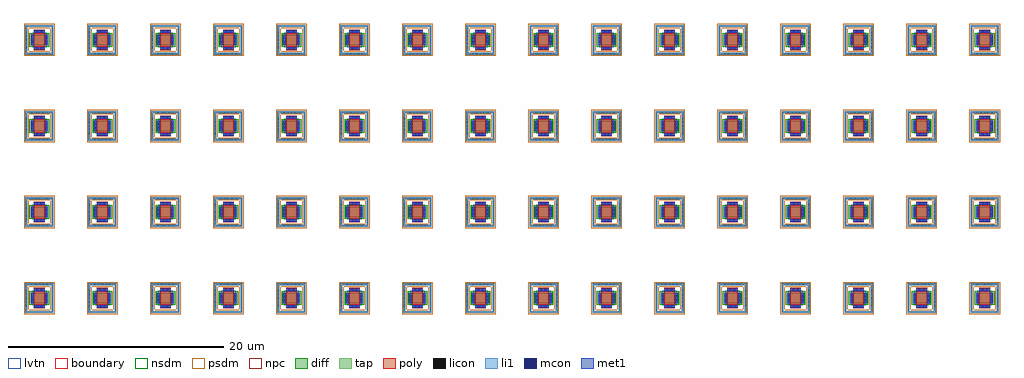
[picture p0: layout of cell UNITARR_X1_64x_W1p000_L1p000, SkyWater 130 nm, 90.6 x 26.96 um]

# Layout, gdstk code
import gdstk
lib = gdstk.Library(unit=1e-6, precision=1e-09)
def R(c, l, rs):  # rectangles x0, y0, x1, y1
    for r in rs: c.add(gdstk.rectangle(r[:2], r[2:], *l))
diff = (65, 20)
tap = (65, 44)
poly = (66, 20)
licon = (66, 44)
li1 = (67, 20)
mcon = (67, 44)
met1 = (68, 20)
nsdm = (93, 44)
psdm = (94, 20)
npc = (95, 20)
lvtn = (125, 44)
boundary = (235, 4)

sky130_fd_pr__nfet_01v8_ = lib.new_cell('sky130_fd_pr__nfet_01v8_lvt_SRSYDN')
R(sky130_fd_pr__nfet_01v8_, diff, [(-0.79,-0.5,0.79,0.5), (-0.79,-0.5,0.79,0.5), (-0.79,-0.5,0.79,0.5), (-0.79,-0.5,0.79,0.5)])
R(sky130_fd_pr__nfet_01v8_, tap, [(-1.3,-1.37,1.3,-1.2), (-1.3,-1.37,1.3,-1.2), (-1.3,-1.37,1.3,-1.2), (-1.3,-1.37,1.3,-1.2), (-1.3,-1.2,-1.13,1.2), (-1.3,-1.2,-1.13,1.2), (-1.3,-1.2,-1.13,1.2), (-1.3,-1.2,-1.13,1.2), (1.13,-1.2,1.3,1.2), (1.13,-1.2,1.3,1.2), (1.13,-1.2,1.3,1.2), (1.13,-1.2,1.3,1.2), (-1.3,1.2,1.3,1.37), (-1.3,1.2,1.3,1.37), (-1.3,1.2,1.3,1.37), (-1.3,1.2,1.3,1.37)])
R(sky130_fd_pr__nfet_01v8_, poly, [(-0.5,-0.94,0.5,0.94), (-0.5,-0.94,0.5,0.94), (-0.5,-0.94,0.5,0.94), (-0.5,-0.94,0.5,0.94)])
R(sky130_fd_pr__nfet_01v8_, licon, [(-0.765,-1.37,-0.595,-1.2), (-0.765,-1.37,-0.595,-1.2), (-0.765,-1.37,-0.595,-1.2), (-0.765,-1.37,-0.595,-1.2), (-0.425,-1.37,-0.255,-1.2), (-0.425,-1.37,-0.255,-1.2), (-0.425,-1.37,-0.255,-1.2), (-0.425,-1.37,-0.255,-1.2), (-0.085,-1.37,0.085,-1.2), (-0.085,-1.37,0.085,-1.2), (-0.085,-1.37,0.085,-1.2), (-0.085,-1.37,0.085,-1.2), (0.255,-1.37,0.425,-1.2), (0.255,-1.37,0.425,-1.2), (0.255,-1.37,0.425,-1.2), (0.255,-1.37,0.425,-1.2), (0.595,-1.37,0.765,-1.2), (0.595,-1.37,0.765,-1.2), (0.595,-1.37,0.765,-1.2), (0.595,-1.37,0.765,-1.2), (-0.255,-0.86,-0.085,-0.69), (-0.255,-0.86,-0.085,-0.69), (-0.255,-0.86,-0.085,-0.69), (-0.255,-0.86,-0.085,-0.69), (0.085,-0.86,0.255,-0.69), (0.085,-0.86,0.255,-0.69), (0.085,-0.86,0.255,-0.69), (0.085,-0.86,0.255,-0.69), (-1.3,-0.765,-1.13,-0.595), (-1.3,-0.765,-1.13,-0.595), (-1.3,-0.765,-1.13,-0.595), (-1.3,-0.765,-1.13,-0.595), (1.13,-0.765,1.3,-0.595), (1.13,-0.765,1.3,-0.595), (1.13,-0.765,1.3,-0.595), (1.13,-0.765,1.3,-0.595), (-1.3,-0.425,-1.13,-0.255), (-1.3,-0.425,-1.13,-0.255), (-1.3,-0.425,-1.13,-0.255), (-1.3,-0.425,-1.13,-0.255), (-0.73,-0.425,-0.56,-0.255), (-0.73,-0.425,-0.56,-0.255), (-0.73,-0.425,-0.56,-0.255), (-0.73,-0.425,-0.56,-0.255), (0.56,-0.425,0.73,-0.255), (0.56,-0.425,0.73,-0.255), (0.56,-0.425,0.73,-0.255), (0.56,-0.425,0.73,-0.255), (1.13,-0.425,1.3,-0.255), (1.13,-0.425,1.3,-0.255), (1.13,-0.425,1.3,-0.255), (1.13,-0.425,1.3,-0.255), (-1.3,-0.085,-1.13,0.085), (-1.3,-0.085,-1.13,0.085), (-1.3,-0.085,-1.13,0.085), (-1.3,-0.085,-1.13,0.085), (-0.73,-0.085,-0.56,0.085), (-0.73,-0.085,-0.56,0.085), (-0.73,-0.085,-0.56,0.085), (-0.73,-0.085,-0.56,0.085), (0.56,-0.085,0.73,0.085), (0.56,-0.085,0.73,0.085), (0.56,-0.085,0.73,0.085), (0.56,-0.085,0.73,0.085), (1.13,-0.085,1.3,0.085), (1.13,-0.085,1.3,0.085), (1.13,-0.085,1.3,0.085), (1.13,-0.085,1.3,0.085), (-1.3,0.255,-1.13,0.425), (-1.3,0.255,-1.13,0.425), (-1.3,0.255,-1.13,0.425), (-1.3,0.255,-1.13,0.425), (-0.73,0.255,-0.56,0.425), (-0.73,0.255,-0.56,0.425), (-0.73,0.255,-0.56,0.425), (-0.73,0.255,-0.56,0.425), (0.56,0.255,0.73,0.425), (0.56,0.255,0.73,0.425), (0.56,0.255,0.73,0.425), (0.56,0.255,0.73,0.425), (1.13,0.255,1.3,0.425), (1.13,0.255,1.3,0.425), (1.13,0.255,1.3,0.425), (1.13,0.255,1.3,0.425), (-1.3,0.595,-1.13,0.765), (-1.3,0.595,-1.13,0.765), (-1.3,0.595,-1.13,0.765), (-1.3,0.595,-1.13,0.765), (1.13,0.595,1.3,0.765), (1.13,0.595,1.3,0.765), (1.13,0.595,1.3,0.765), (1.13,0.595,1.3,0.765), (-0.255,0.69,-0.085,0.86), (-0.255,0.69,-0.085,0.86), (-0.255,0.69,-0.085,0.86), (-0.255,0.69,-0.085,0.86), (0.085,0.69,0.255,0.86), (0.085,0.69,0.255,0.86), (0.085,0.69,0.255,0.86), (0.085,0.69,0.255,0.86), (-0.765,1.2,-0.595,1.37), (-0.765,1.2,-0.595,1.37), (-0.765,1.2,-0.595,1.37), (-0.765,1.2,-0.595,1.37), (-0.425,1.2,-0.255,1.37), (-0.425,1.2,-0.255,1.37), (-0.425,1.2,-0.255,1.37), (-0.425,1.2,-0.255,1.37), (-0.085,1.2,0.085,1.37), (-0.085,1.2,0.085,1.37), (-0.085,1.2,0.085,1.37), (-0.085,1.2,0.085,1.37), (0.255,1.2,0.425,1.37), (0.255,1.2,0.425,1.37), (0.255,1.2,0.425,1.37), (0.255,1.2,0.425,1.37), (0.595,1.2,0.765,1.37), (0.595,1.2,0.765,1.37), (0.595,1.2,0.765,1.37), (0.595,1.2,0.765,1.37)])
R(sky130_fd_pr__nfet_01v8_, li1, [(-1.3,-1.37,1.3,-1.2), (-1.3,-1.37,1.3,-1.2), (-1.3,-1.37,1.3,-1.2), (-1.3,-1.37,1.3,-1.2), (-1.3,-1.2,-1.13,1.2), (-1.3,-1.2,-1.13,1.2), (-1.3,-1.2,-1.13,1.2), (-1.3,-1.2,-1.13,1.2), (1.13,-1.2,1.3,1.2), (1.13,-1.2,1.3,1.2), (1.13,-1.2,1.3,1.2), (1.13,-1.2,1.3,1.2), (-0.5,-0.86,0.5,-0.69), (-0.5,-0.86,0.5,-0.69), (-0.5,-0.86,0.5,-0.69), (-0.5,-0.86,0.5,-0.69), (-0.73,-0.52,-0.56,0.52), (-0.73,-0.52,-0.56,0.52), (-0.73,-0.52,-0.56,0.52), (-0.73,-0.52,-0.56,0.52), (0.56,-0.52,0.73,0.52), (0.56,-0.52,0.73,0.52), (0.56,-0.52,0.73,0.52), (0.56,-0.52,0.73,0.52), (-0.5,0.69,0.5,0.86), (-0.5,0.69,0.5,0.86), (-0.5,0.69,0.5,0.86), (-0.5,0.69,0.5,0.86), (-1.3,1.2,1.3,1.37), (-1.3,1.2,1.3,1.37), (-1.3,1.2,1.3,1.37), (-1.3,1.2,1.3,1.37)])
R(sky130_fd_pr__nfet_01v8_, mcon, [(-0.265,-0.86,-0.095,-0.69), (-0.265,-0.86,-0.095,-0.69), (-0.265,-0.86,-0.095,-0.69), (-0.265,-0.86,-0.095,-0.69), (0.095,-0.86,0.265,-0.69), (0.095,-0.86,0.265,-0.69), (0.095,-0.86,0.265,-0.69), (0.095,-0.86,0.265,-0.69), (-0.73,-0.265,-0.56,-0.095), (-0.73,-0.265,-0.56,-0.095), (-0.73,-0.265,-0.56,-0.095), (-0.73,-0.265,-0.56,-0.095), (0.56,-0.265,0.73,-0.095), (0.56,-0.265,0.73,-0.095), (0.56,-0.265,0.73,-0.095), (0.56,-0.265,0.73,-0.095), (-0.73,0.095,-0.56,0.265), (-0.73,0.095,-0.56,0.265), (-0.73,0.095,-0.56,0.265), (-0.73,0.095,-0.56,0.265), (0.56,0.095,0.73,0.265), (0.56,0.095,0.73,0.265), (0.56,0.095,0.73,0.265), (0.56,0.095,0.73,0.265), (-0.265,0.69,-0.095,0.86), (-0.265,0.69,-0.095,0.86), (-0.265,0.69,-0.095,0.86), (-0.265,0.69,-0.095,0.86), (0.095,0.69,0.265,0.86), (0.095,0.69,0.265,0.86), (0.095,0.69,0.265,0.86), (0.095,0.69,0.265,0.86)])
R(sky130_fd_pr__nfet_01v8_, met1, [(-0.48,-0.89,0.48,-0.66), (-0.48,-0.89,0.48,-0.66), (-0.48,-0.89,0.48,-0.66), (-0.48,-0.89,0.48,-0.66), (-0.76,-0.5,-0.53,0.5), (-0.76,-0.5,-0.53,0.5), (-0.76,-0.5,-0.53,0.5), (-0.76,-0.5,-0.53,0.5), (0.53,-0.5,0.76,0.5), (0.53,-0.5,0.76,0.5), (0.53,-0.5,0.76,0.5), (0.53,-0.5,0.76,0.5), (-0.48,0.66,0.48,0.89), (-0.48,0.66,0.48,0.89), (-0.48,0.66,0.48,0.89), (-0.48,0.66,0.48,0.89)])
R(sky130_fd_pr__nfet_01v8_, nsdm, [(-0.915,-0.625,0.915,0.625), (-0.915,-0.625,0.915,0.625), (-0.915,-0.625,0.915,0.625), (-0.915,-0.625,0.915,0.625)])
R(sky130_fd_pr__nfet_01v8_, psdm, [(-1.425,-1.495,1.425,-1.075), (-1.425,-1.495,1.425,-1.075), (-1.425,-1.495,1.425,-1.075), (-1.425,-1.495,1.425,-1.075), (-1.425,-1.075,-1.005,1.075), (-1.425,-1.075,-1.005,1.075), (-1.425,-1.075,-1.005,1.075), (-1.425,-1.075,-1.005,1.075), (1.005,-1.075,1.425,1.075), (1.005,-1.075,1.425,1.075), (1.005,-1.075,1.425,1.075), (1.005,-1.075,1.425,1.075), (-1.425,1.075,1.425,1.495), (-1.425,1.075,1.425,1.495), (-1.425,1.075,1.425,1.495), (-1.425,1.075,1.425,1.495)])
R(sky130_fd_pr__nfet_01v8_, npc, [(-0.355,-0.96,0.355,-0.59), (-0.355,-0.96,0.355,-0.59), (-0.355,-0.96,0.355,-0.59), (-0.355,-0.96,0.355,-0.59), (-0.355,0.59,0.355,0.96), (-0.355,0.59,0.355,0.96), (-0.355,0.59,0.355,0.96), (-0.355,0.59,0.355,0.96)])
R(sky130_fd_pr__nfet_01v8_, lvtn, [(-0.68,-0.68,0.68,0.68), (-0.68,-0.68,0.68,0.68), (-0.68,-0.68,0.68,0.68), (-0.68,-0.68,0.68,0.68)])
R(sky130_fd_pr__nfet_01v8_, boundary, [(-1.215,-1.285,1.215,1.285), (-1.215,-1.285,1.215,1.285), (-1.215,-1.285,1.215,1.285), (-1.215,-1.285,1.215,1.285)])
sky130_fd_pr__nfet_01v8_.add(gdstk.Label('B', (0,-1.285), layer=67, texttype=5))
sky130_fd_pr__nfet_01v8_.add(gdstk.Label('D', (-0.645,0), layer=67, texttype=5))
sky130_fd_pr__nfet_01v8_.add(gdstk.Label('S', (0.645,0), layer=67, texttype=5))
sky130_fd_pr__nfet_01v8_.add(gdstk.Label('G', (0,0.775), layer=67, texttype=5))
sky130_fd_pr__nfet_01v8_.add(gdstk.Label('B', (0,-1.285), layer=67, texttype=5))
sky130_fd_pr__nfet_01v8_.add(gdstk.Label('D', (-0.645,0), layer=67, texttype=5))
sky130_fd_pr__nfet_01v8_.add(gdstk.Label('S', (0.645,0), layer=67, texttype=5))
sky130_fd_pr__nfet_01v8_.add(gdstk.Label('G', (0,0.775), layer=67, texttype=5))
sky130_fd_pr__nfet_01v8_.add(gdstk.Label('B', (0,-1.285), layer=67, texttype=5))
sky130_fd_pr__nfet_01v8_.add(gdstk.Label('D', (-0.645,0), layer=67, texttype=5))
sky130_fd_pr__nfet_01v8_.add(gdstk.Label('S', (0.645,0), layer=67, texttype=5))
sky130_fd_pr__nfet_01v8_.add(gdstk.Label('G', (0,0.775), layer=67, texttype=5))
sky130_fd_pr__nfet_01v8_.add(gdstk.Label('B', (0,-1.285), layer=67, texttype=5))
sky130_fd_pr__nfet_01v8_.add(gdstk.Label('D', (-0.645,0), layer=67, texttype=5))
sky130_fd_pr__nfet_01v8_.add(gdstk.Label('S', (0.645,0), layer=67, texttype=5))
sky130_fd_pr__nfet_01v8_.add(gdstk.Label('G', (0,0.775), layer=67, texttype=5))

magic_gr_x1_unit_sky130_ = lib.new_cell('MAGIC_GR_X1_UNIT_sky130_fd_pr__nfet_01v8_lvt')
magic_gr_x1_unit_sky130_.add(gdstk.Reference(sky130_fd_pr__nfet_01v8_, (1.215,1.285)))

unitarr_x1_64x_w1p000_l1 = lib.new_cell('UNITARR_X1_64x_W1p000_L1p000')
unitarr_x1_64x_w1p000_l1.add(gdstk.Reference(magic_gr_x1_unit_sky130_, (0.21,0.21)))
unitarr_x1_64x_w1p000_l1.add(gdstk.Reference(magic_gr_x1_unit_sky130_, (6.06,0.21)))
unitarr_x1_64x_w1p000_l1.add(gdstk.Reference(magic_gr_x1_unit_sky130_, (11.91,0.21)))
unitarr_x1_64x_w1p000_l1.add(gdstk.Reference(magic_gr_x1_unit_sky130_, (17.76,0.21)))
unitarr_x1_64x_w1p000_l1.add(gdstk.Reference(magic_gr_x1_unit_sky130_, (23.61,0.21)))
unitarr_x1_64x_w1p000_l1.add(gdstk.Reference(magic_gr_x1_unit_sky130_, (29.46,0.21)))
unitarr_x1_64x_w1p000_l1.add(gdstk.Reference(magic_gr_x1_unit_sky130_, (35.31,0.21)))
unitarr_x1_64x_w1p000_l1.add(gdstk.Reference(magic_gr_x1_unit_sky130_, (41.16,0.21)))
unitarr_x1_64x_w1p000_l1.add(gdstk.Reference(magic_gr_x1_unit_sky130_, (47.01,0.21)))
unitarr_x1_64x_w1p000_l1.add(gdstk.Reference(magic_gr_x1_unit_sky130_, (52.86,0.21)))
unitarr_x1_64x_w1p000_l1.add(gdstk.Reference(magic_gr_x1_unit_sky130_, (58.71,0.21)))
unitarr_x1_64x_w1p000_l1.add(gdstk.Reference(magic_gr_x1_unit_sky130_, (64.56,0.21)))
unitarr_x1_64x_w1p000_l1.add(gdstk.Reference(magic_gr_x1_unit_sky130_, (70.41,0.21)))
unitarr_x1_64x_w1p000_l1.add(gdstk.Reference(magic_gr_x1_unit_sky130_, (76.26,0.21)))
unitarr_x1_64x_w1p000_l1.add(gdstk.Reference(magic_gr_x1_unit_sky130_, (82.11,0.21)))
unitarr_x1_64x_w1p000_l1.add(gdstk.Reference(magic_gr_x1_unit_sky130_, (87.96,0.21)))
unitarr_x1_64x_w1p000_l1.add(gdstk.Reference(magic_gr_x1_unit_sky130_, (87.96,8.2)))
unitarr_x1_64x_w1p000_l1.add(gdstk.Reference(magic_gr_x1_unit_sky130_, (82.11,8.2)))
unitarr_x1_64x_w1p000_l1.add(gdstk.Reference(magic_gr_x1_unit_sky130_, (76.26,8.2)))
unitarr_x1_64x_w1p000_l1.add(gdstk.Reference(magic_gr_x1_unit_sky130_, (70.41,8.2)))
unitarr_x1_64x_w1p000_l1.add(gdstk.Reference(magic_gr_x1_unit_sky130_, (64.56,8.2)))
unitarr_x1_64x_w1p000_l1.add(gdstk.Reference(magic_gr_x1_unit_sky130_, (58.71,8.2)))
unitarr_x1_64x_w1p000_l1.add(gdstk.Reference(magic_gr_x1_unit_sky130_, (52.86,8.2)))
unitarr_x1_64x_w1p000_l1.add(gdstk.Reference(magic_gr_x1_unit_sky130_, (47.01,8.2)))
unitarr_x1_64x_w1p000_l1.add(gdstk.Reference(magic_gr_x1_unit_sky130_, (41.16,8.2)))
unitarr_x1_64x_w1p000_l1.add(gdstk.Reference(magic_gr_x1_unit_sky130_, (35.31,8.2)))
unitarr_x1_64x_w1p000_l1.add(gdstk.Reference(magic_gr_x1_unit_sky130_, (29.46,8.2)))
unitarr_x1_64x_w1p000_l1.add(gdstk.Reference(magic_gr_x1_unit_sky130_, (23.61,8.2)))
unitarr_x1_64x_w1p000_l1.add(gdstk.Reference(magic_gr_x1_unit_sky130_, (17.76,8.2)))
unitarr_x1_64x_w1p000_l1.add(gdstk.Reference(magic_gr_x1_unit_sky130_, (11.91,8.2)))
unitarr_x1_64x_w1p000_l1.add(gdstk.Reference(magic_gr_x1_unit_sky130_, (6.06,8.2)))
unitarr_x1_64x_w1p000_l1.add(gdstk.Reference(magic_gr_x1_unit_sky130_, (0.21,8.2)))
unitarr_x1_64x_w1p000_l1.add(gdstk.Reference(magic_gr_x1_unit_sky130_, (0.21,16.19)))
unitarr_x1_64x_w1p000_l1.add(gdstk.Reference(magic_gr_x1_unit_sky130_, (6.06,16.19)))
unitarr_x1_64x_w1p000_l1.add(gdstk.Reference(magic_gr_x1_unit_sky130_, (11.91,16.19)))
unitarr_x1_64x_w1p000_l1.add(gdstk.Reference(magic_gr_x1_unit_sky130_, (17.76,16.19)))
unitarr_x1_64x_w1p000_l1.add(gdstk.Reference(magic_gr_x1_unit_sky130_, (23.61,16.19)))
unitarr_x1_64x_w1p000_l1.add(gdstk.Reference(magic_gr_x1_unit_sky130_, (29.46,16.19)))
unitarr_x1_64x_w1p000_l1.add(gdstk.Reference(magic_gr_x1_unit_sky130_, (35.31,16.19)))
unitarr_x1_64x_w1p000_l1.add(gdstk.Reference(magic_gr_x1_unit_sky130_, (41.16,16.19)))
unitarr_x1_64x_w1p000_l1.add(gdstk.Reference(magic_gr_x1_unit_sky130_, (47.01,16.19)))
unitarr_x1_64x_w1p000_l1.add(gdstk.Reference(magic_gr_x1_unit_sky130_, (52.86,16.19)))
unitarr_x1_64x_w1p000_l1.add(gdstk.Reference(magic_gr_x1_unit_sky130_, (58.71,16.19)))
unitarr_x1_64x_w1p000_l1.add(gdstk.Reference(magic_gr_x1_unit_sky130_, (64.56,16.19)))
unitarr_x1_64x_w1p000_l1.add(gdstk.Reference(magic_gr_x1_unit_sky130_, (70.41,16.19)))
unitarr_x1_64x_w1p000_l1.add(gdstk.Reference(magic_gr_x1_unit_sky130_, (76.26,16.19)))
unitarr_x1_64x_w1p000_l1.add(gdstk.Reference(magic_gr_x1_unit_sky130_, (82.11,16.19)))
unitarr_x1_64x_w1p000_l1.add(gdstk.Reference(magic_gr_x1_unit_sky130_, (87.96,16.19)))
unitarr_x1_64x_w1p000_l1.add(gdstk.Reference(magic_gr_x1_unit_sky130_, (87.96,24.18)))
unitarr_x1_64x_w1p000_l1.add(gdstk.Reference(magic_gr_x1_unit_sky130_, (82.11,24.18)))
unitarr_x1_64x_w1p000_l1.add(gdstk.Reference(magic_gr_x1_unit_sky130_, (76.26,24.18)))
unitarr_x1_64x_w1p000_l1.add(gdstk.Reference(magic_gr_x1_unit_sky130_, (70.41,24.18)))
unitarr_x1_64x_w1p000_l1.add(gdstk.Reference(magic_gr_x1_unit_sky130_, (64.56,24.18)))
unitarr_x1_64x_w1p000_l1.add(gdstk.Reference(magic_gr_x1_unit_sky130_, (58.71,24.18)))
unitarr_x1_64x_w1p000_l1.add(gdstk.Reference(magic_gr_x1_unit_sky130_, (52.86,24.18)))
unitarr_x1_64x_w1p000_l1.add(gdstk.Reference(magic_gr_x1_unit_sky130_, (47.01,24.18)))
unitarr_x1_64x_w1p000_l1.add(gdstk.Reference(magic_gr_x1_unit_sky130_, (41.16,24.18)))
unitarr_x1_64x_w1p000_l1.add(gdstk.Reference(magic_gr_x1_unit_sky130_, (35.31,24.18)))
unitarr_x1_64x_w1p000_l1.add(gdstk.Reference(magic_gr_x1_unit_sky130_, (29.46,24.18)))
unitarr_x1_64x_w1p000_l1.add(gdstk.Reference(magic_gr_x1_unit_sky130_, (23.61,24.18)))
unitarr_x1_64x_w1p000_l1.add(gdstk.Reference(magic_gr_x1_unit_sky130_, (17.76,24.18)))
unitarr_x1_64x_w1p000_l1.add(gdstk.Reference(magic_gr_x1_unit_sky130_, (11.91,24.18)))
unitarr_x1_64x_w1p000_l1.add(gdstk.Reference(magic_gr_x1_unit_sky130_, (6.06,24.18)))
unitarr_x1_64x_w1p000_l1.add(gdstk.Reference(magic_gr_x1_unit_sky130_, (0.21,24.18)))

lib.write_gds('UNITARR_X1_64x_W1p000_L1p000.gds')
